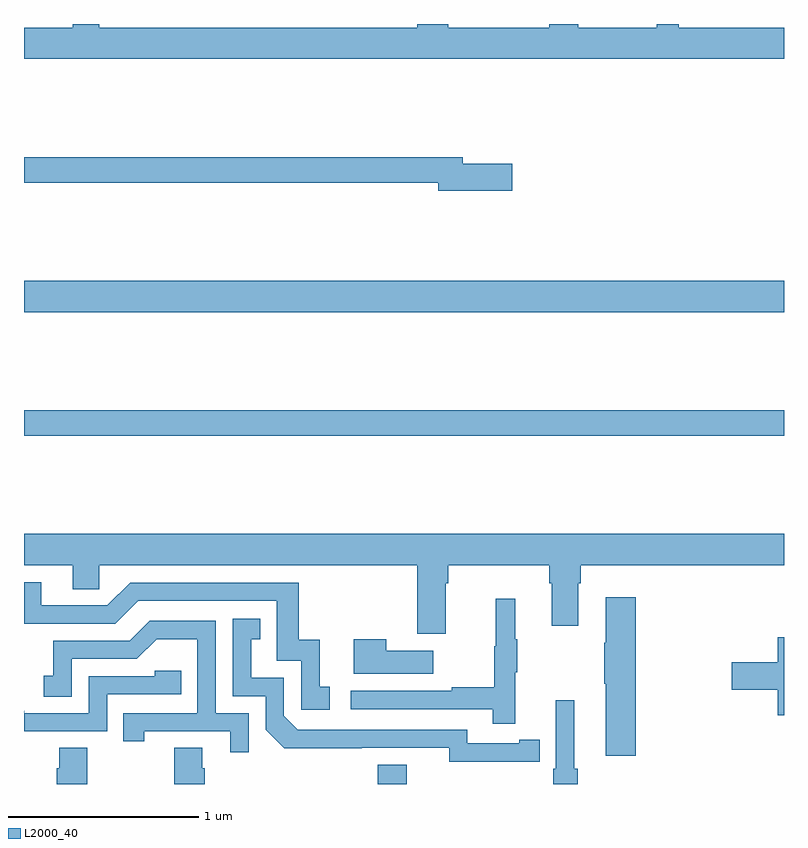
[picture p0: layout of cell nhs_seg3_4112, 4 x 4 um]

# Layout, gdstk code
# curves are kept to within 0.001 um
import gdstk
lib = gdstk.Library(unit=1e-6, precision=1e-09)
def R(c, l, rs):  # rectangles x0, y0, x1, y1
    for r in rs: c.add(gdstk.rectangle(r[:2], r[2:], *l))
def P(c, l, *ps):  # polygons
    for p in ps: c.add(gdstk.Polygon(p, *l))
L2000_40 = (2000, 40)

nhs_seg3_4112 = lib.new_cell('nhs_seg3_4112')
R(nhs_seg3_4112, L2000_40, [(328.862,730.4,329.014,730.501), (327,732.232,331,732.368), (327,732.884,331,733.048)])
P(nhs_seg3_4112, L2000_40, [(331,734.38),(330.445,734.38),(330.445,734.4),(330.331,734.4),(330.331,734.38),(329.917,734.38),(329.917,734.4),(329.765,734.4),(329.765,734.38),(329.234,734.38),(329.234,734.4),(329.069,734.4),(329.069,734.38),(327.396,734.38),(327.396,734.4),(327.257,734.4),(327.257,734.38),(327,734.38),(327,734.216),(331,734.216)],
  [(329.569,733.664),(329.308,733.664),(329.308,733.7),(327,733.7),(327,733.564),(329.18,733.564),(329.18,733.522),(329.569,733.522)],
  [(329.221,731.456),(329.234,731.456),(329.234,731.552),(329.765,731.552),(329.765,731.456),(329.777,731.456),(329.777,731.232),(329.917,731.232),(329.917,731.456),(329.93,731.456),(329.93,731.552),(331,731.552),(331,731.716),(327,731.716),(327,731.552),(327.257,731.552),(327.257,731.425),(327.396,731.425),(327.396,731.552),(329.069,731.552),(329.069,731.19),(329.221,731.19)],
  [(328.609,730.911),(328.556,730.911),(328.556,731.158),(328.445,731.158),(328.445,731.46),(327.558,731.46),(327.438,731.34),(327.091,731.34),(327.091,731.463),(327,731.463),(327,731.244),(327.48,731.244),(327.6,731.364),(328.329,731.364),(328.329,731.049),(328.458,731.049),(328.458,730.791),(328.609,730.791)],
  [(330.221,731.383),(330.062,731.383),(330.062,731.144),(330.055,731.144),(330.055,730.927),(330.062,730.927),(330.062,730.548),(330.221,730.548)],
  [(329.585,730.987),(329.596,730.987),(329.596,731.161),(329.585,731.161),(329.585,731.374),(329.482,731.374),(329.482,731.124),(329.475,731.124),(329.475,730.91),(329.251,730.91),(329.251,730.89),(328.719,730.89),(328.719,730.794),(329.467,730.794),(329.467,730.716),(329.585,730.716)],
  [(329.606,730.518),(329.714,730.518),(329.714,730.634),(329.606,730.634),(329.606,730.614),(329.334,730.614),(329.334,730.686),(328.44,730.686),(328.368,730.758),(328.368,730.959),(328.195,730.959),(328.195,731.163),(328.244,731.163),(328.244,731.269),(328.098,731.269),(328.098,730.863),(328.272,730.863),(328.272,730.686),(328.37,730.589),(329.238,730.59),(329.238,730.517)],
  [(328.182,730.773),(328.008,730.773),(328.008,731.259),(327.662,731.259),(327.557,731.154),(327.154,731.154),(327.154,730.969),(327.105,730.969),(327.105,730.86),(327.252,730.86),(327.252,731.058),(327.594,731.058),(327.698,731.162),(327.912,731.162),(327.912,730.773),(327.523,730.773),(327.523,730.626),(327.634,730.626),(327.634,730.677),(328.085,730.677),(328.085,730.566),(328.182,730.566)],
  [(331,731.173),(330.968,731.173),(330.968,731.042),(330.726,731.042),(330.726,730.895),(330.968,730.895),(330.968,730.763),(331,730.763)],
  [(329.155,731.101),(328.907,731.101),(328.907,731.161),(328.736,731.161),(328.736,730.979),(329.155,730.979)],
  [(327.438,730.872),(327.827,730.872),(327.827,730.995),(327.687,730.995),(327.687,730.968),(327.342,730.968),(327.342,730.773),(327.001,730.773),(327.001,730.786),(327,730.786),(327,730.677),(327.438,730.677)],
  [(329.915,730.48),(329.896,730.48),(329.896,730.84),(329.799,730.84),(329.799,730.48),(329.786,730.48),(329.786,730.4),(329.915,730.4)],
  [(327.95,730.482),(327.937,730.482),(327.937,730.592),(327.79,730.592),(327.79,730.4),(327.95,730.4)],
  [(327.333,730.592),(327.185,730.592),(327.185,730.482),(327.173,730.482),(327.173,730.4),(327.333,730.4)])

lib.write_gds('nhs_seg3_4112.gds')
